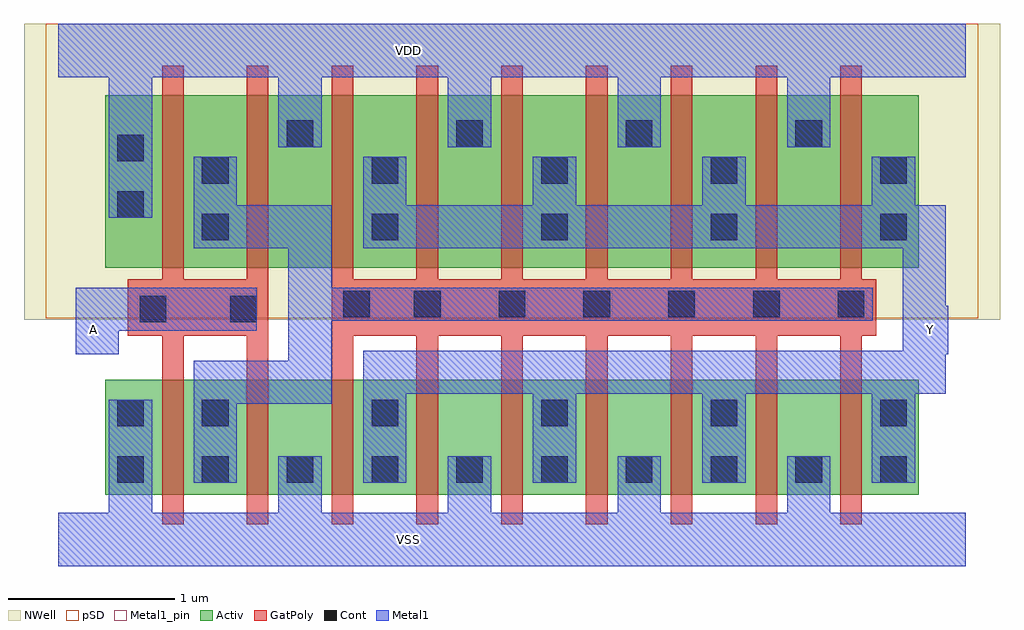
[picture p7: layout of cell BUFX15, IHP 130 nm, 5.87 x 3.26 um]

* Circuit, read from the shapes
.subckt BUFX15 A VDD VSS Y
XM1 n1 A VSS VSUBS sg13_lv_nmos w=0.69u l=0.13u m=2
XM2 Y n1 VSS VSUBS sg13_lv_nmos w=0.69u l=0.13u m=7
XM3 n1 A VDD n2 sg13_lv_pmos w=1.035u l=0.13u m=2
XM4 Y n1 VDD n2 sg13_lv_pmos w=1.035u l=0.13u m=7
.ends

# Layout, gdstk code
import gdstk
lib = gdstk.Library(unit=1e-6, precision=1e-09)
def R(c, l, rs):  # rectangles x0, y0, x1, y1
    for r in rs: c.add(gdstk.rectangle(r[:2], r[2:], *l))
def A(c, l, x, y, w, h, nx, ny, dx, dy):  # array of equal rectangles
    R(c, l, [(x+i*dx, y+j*dy, x+i*dx+w, y+j*dy+h) for i in range(nx) for j in range(ny)])
def P(c, l, *ps):  # polygons
    for p in ps: c.add(gdstk.Polygon(p, *l))
Activ = (1, 0)
GatPoly = (5, 0)
Cont = (6, 0)
Metal1 = (8, 0)
Metal1_pin = (8, 2)
pSD = (14, 0)
NWell = (31, 0)

bufx15 = lib.new_cell('BUFX15')
R(bufx15, Activ, [(0.285,0.27,5.175,0.96), (0.285,1.635,5.175,2.67)])
P(bufx15, GatPoly, [(1.645,0.09),(1.645,2.85),(1.775,2.85),(1.775,1.565),(2.155,1.565),(2.155,2.85),(2.285,2.85),(2.285,1.565),(2.665,1.565),(2.665,2.85),(2.795,2.85),(2.795,1.565),(3.175,1.565),(3.175,2.85),(3.305,2.85),(3.305,1.565),(3.685,1.565),(3.685,2.85),(3.815,2.85),(3.815,1.565),(4.195,1.565),(4.195,2.85),(4.325,2.85),(4.325,1.565),(4.705,1.565),(4.705,2.85),(4.835,2.85),(4.835,1.565),(4.92,1.565),(4.92,1.225),(4.835,1.225),(4.835,0.09),(4.705,0.09),(4.705,1.225),(4.325,1.225),(4.325,0.09),(4.195,0.09),(4.195,1.225),(3.815,1.225),(3.815,0.09),(3.685,0.09),(3.685,1.225),(3.305,1.225),(3.305,0.09),(3.175,0.09),(3.175,1.225),(2.795,1.225),(2.795,0.09),(2.665,0.09),(2.665,1.225),(2.285,1.225),(2.285,0.09),(2.155,0.09),(2.155,1.225),(1.775,1.225),(1.775,0.09)],
  [(0.625,0.09),(0.625,1.225),(0.42,1.225),(0.42,1.565),(0.625,1.565),(0.625,2.85),(0.755,2.85),(0.755,1.565),(1.135,1.565),(1.135,2.85),(1.265,2.85),(1.265,0.09),(1.135,0.09),(1.135,1.225),(0.755,1.225),(0.755,0.09)])
A(bufx15, Cont, 0.355, 0.34, 0.16, 0.16, 10, 1, 0.51, 0)
A(bufx15, Cont, 0.865, 0.68, 0.16, 0.16, 5, 2, 1.02, 1.12)
A(bufx15, Cont, 2.14, 1.335, 0.16, 0.16, 6, 1, 0.51, 0)
A(bufx15, Cont, 0.865, 2.14, 0.16, 0.16, 5, 1, 1.02, 0)
A(bufx15, Cont, 1.375, 2.36, 0.16, 0.16, 4, 1, 1.02, 0)
R(bufx15, Cont, [(0.355,0.68,0.515,0.84), (0.49,1.305,0.65,1.465), (1.035,1.305,1.195,1.465), (1.715,1.335,1.875,1.495), (0.355,1.935,0.515,2.095), (0.355,2.275,0.515,2.435)])
P(bufx15, Metal1, [(0.815,0.34),(0.815,1.075),(1.385,1.075),(1.385,1.75),(0.815,1.75),(0.815,2.3),(1.075,2.3),(1.075,2.01),(1.645,2.01),(1.645,1.515),(4.9,1.515),(4.9,1.315),(1.645,1.315),(1.645,0.815),(1.075,0.815),(1.075,0.34)],
  [(1.835,0.34),(1.835,1.135),(5.08,1.135),(5.08,1.75),(1.835,1.75),(1.835,2.3),(2.095,2.3),(2.095,2.01),(2.855,2.01),(2.855,2.3),(3.115,2.3),(3.115,2.01),(3.875,2.01),(3.875,2.3),(4.135,2.3),(4.135,2.01),(4.895,2.01),(4.895,2.3),(5.155,2.3),(5.155,2.01),(5.34,2.01),(5.34,1.405),(5.355,1.405),(5.355,1.115),(5.34,1.115),(5.34,0.875),(5.155,0.875),(5.155,0.34),(4.895,0.34),(4.895,0.875),(4.135,0.875),(4.135,0.34),(3.875,0.34),(3.875,0.875),(3.115,0.875),(3.115,0.34),(2.855,0.34),(2.855,0.875),(2.095,0.875),(2.095,0.34)],
  [(0.105,1.115),(0.105,1.515),(1.195,1.515),(1.195,1.255),(0.365,1.255),(0.365,1.115)],
  [(0.305,1.935),(0.305,2.78),(0,2.78),(0,3.1),(5.46,3.1),(5.46,2.78),(4.645,2.78),(4.645,2.36),(4.385,2.36),(4.385,2.78),(3.625,2.78),(3.625,2.36),(3.365,2.36),(3.365,2.78),(2.605,2.78),(2.605,2.36),(2.345,2.36),(2.345,2.78),(1.585,2.78),(1.585,2.36),(1.325,2.36),(1.325,2.78),(0.565,2.78),(0.565,1.935)],
  [(0,-0.16),(0,0.16),(0.305,0.16),(0.305,0.84),(0.565,0.84),(0.565,0.16),(1.325,0.16),(1.325,0.5),(1.585,0.5),(1.585,0.16),(2.345,0.16),(2.345,0.5),(2.605,0.5),(2.605,0.16),(3.365,0.16),(3.365,0.5),(3.625,0.5),(3.625,0.16),(4.385,0.16),(4.385,0.5),(4.645,0.5),(4.645,0.16),(5.46,0.16),(5.46,-0.16)])
P(bufx15, Metal1_pin, [(1.835,0.34),(1.835,1.135),(5.08,1.135),(5.08,1.75),(1.835,1.75),(1.835,2.3),(2.095,2.3),(2.095,2.01),(2.855,2.01),(2.855,2.3),(3.115,2.3),(3.115,2.01),(3.875,2.01),(3.875,2.3),(4.135,2.3),(4.135,2.01),(4.895,2.01),(4.895,2.3),(5.155,2.3),(5.155,2.01),(5.34,2.01),(5.34,1.405),(5.355,1.405),(5.355,1.115),(5.34,1.115),(5.34,0.875),(5.155,0.875),(5.155,0.34),(4.895,0.34),(4.895,0.875),(4.135,0.875),(4.135,0.34),(3.875,0.34),(3.875,0.875),(3.115,0.875),(3.115,0.34),(2.855,0.34),(2.855,0.875),(2.095,0.875),(2.095,0.34)],
  [(0.305,1.935),(0.305,2.78),(0,2.78),(0,3.1),(5.46,3.1),(5.46,2.78),(4.645,2.78),(4.645,2.36),(4.385,2.36),(4.385,2.78),(3.625,2.78),(3.625,2.36),(3.365,2.36),(3.365,2.78),(2.605,2.78),(2.605,2.36),(2.345,2.36),(2.345,2.78),(1.585,2.78),(1.585,2.36),(1.325,2.36),(1.325,2.78),(0.565,2.78),(0.565,1.935)],
  [(0,-0.16),(0,0.16),(0.305,0.16),(0.305,0.84),(0.565,0.84),(0.565,0.16),(1.325,0.16),(1.325,0.5),(1.585,0.5),(1.585,0.16),(2.345,0.16),(2.345,0.5),(2.605,0.5),(2.605,0.16),(3.365,0.16),(3.365,0.5),(3.625,0.5),(3.625,0.16),(4.385,0.16),(4.385,0.5),(4.645,0.5),(4.645,0.16),(5.46,0.16),(5.46,-0.16)],
  [(0.105,1.115),(0.105,1.515),(1.195,1.515),(1.195,1.255),(0.365,1.255),(0.365,1.115)])
R(bufx15, pSD, [(-0.075,1.33,5.535,3.1)])
R(bufx15, NWell, [(-0.205,1.32,5.665,3.1)])
bufx15.add(gdstk.Label('Y', (5.25,1.26), layer=8, texttype=25))
bufx15.add(gdstk.Label('A', (0.21,1.26), layer=8, texttype=25))
bufx15.add(gdstk.Label('VDD', (2.11,2.94), layer=8, texttype=25))
bufx15.add(gdstk.Label('VSS', (2.11,0), layer=8, texttype=25))

lib.write_gds('BUFX15.gds')
